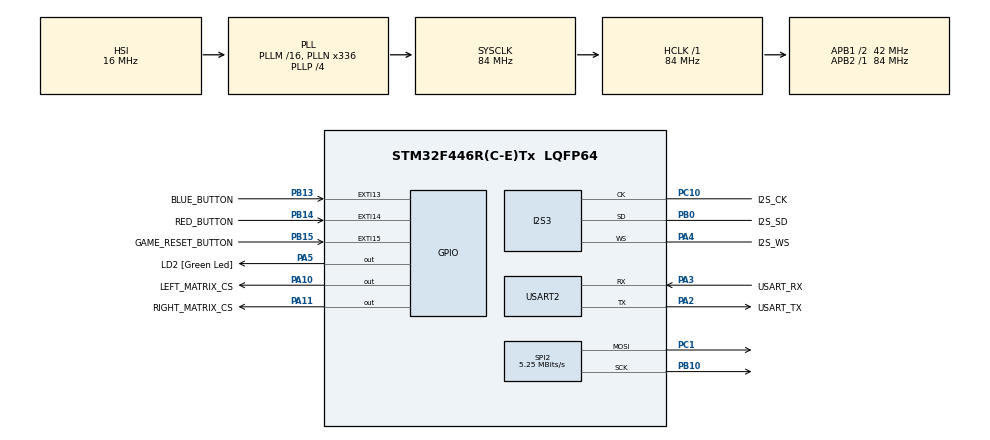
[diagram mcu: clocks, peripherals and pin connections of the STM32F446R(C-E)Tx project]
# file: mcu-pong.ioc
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Dma.Request0=SPI3_TX
Dma.SPI3_TX.0.Direction=DMA_MEMORY_TO_PERIPH
Dma.SPI3_TX.0.FIFOMode=DMA_FIFOMODE_DISABLE
Dma.SPI3_TX.0.Instance=DMA1_Stream5
Dma.SPI3_TX.0.MemDataAlignment=DMA_MDATAALIGN_HALFWORD
Dma.SPI3_TX.0.MemInc=DMA_MINC_ENABLE
Dma.SPI3_TX.0.Mode=DMA_CIRCULAR
Dma.SPI3_TX.0.PeriphDataAlignment=DMA_PDATAALIGN_HALFWORD
Dma.SPI3_TX.0.PeriphInc=DMA_PINC_DISABLE
Dma.SPI3_TX.0.Priority=DMA_PRIORITY_LOW
I2S3.ErrorAudioFreq=0.0 %
I2S3.FullDuplexMode=I2S_FULLDUPLEXMODE_DISABLE
I2S3.Instance=SPI$Index
I2S3.RealAudioFreq=8.0 KHz
I2S3.VirtualMode=I2S_MODE_MASTER
Mcu.Family=STM32F4
Mcu.Name=STM32F446R(C-E)Tx
Mcu.Package=LQFP64
NVIC.DMA1_Stream5_IRQn=true\:0\:0\:false\:false\:true\:false\:true\:true
NVIC.EXTI15_10_IRQn=true\:0\:0\:false\:false\:true\:true\:true\:true
NVIC.PriorityGroup=NVIC_PRIORITYGROUP_0
PA10.GPIO_Label=LEFT_MATRIX_CS
PA10.Signal=GPIO_Output
PA11.GPIO_Label=RIGHT_MATRIX_CS
PA11.Signal=GPIO_Output
PA13.GPIO_Label=TMS
PA13.Signal=SYS_JTMS-SWDIO
PA14.GPIO_Label=TCK
PA14.Signal=SYS_JTCK-SWCLK
PA2.GPIO_Label=USART_TX
PA2.Mode=Asynchronous
PA2.Signal=USART2_TX
PA3.GPIO_Label=USART_RX
PA3.Mode=Asynchronous
PA3.Signal=USART2_RX
PA4.GPIO_Label=I2S_WS
PA4.Mode=Half_Duplex_Master
PA4.Signal=I2S3_WS
PA5.GPIO_Label=LD2 [Green Led]
PA5.Signal=GPIO_Output
PB0.GPIO_Label=I2S_SD
PB0.Mode=Half_Duplex_Master
PB0.Signal=I2S3_SD
PB10.Mode=TX_Only_Simplex_Unidirect_Master
PB10.Signal=SPI2_SCK
PB13.GPIO_Label=BLUE_BUTTON
PB13.GPIO_ModeDefaultEXTI=GPIO_MODE_IT_RISING_FALLING
PB13.GPIO_PuPd=GPIO_PULLUP
PB13.Signal=GPXTI13
PB14.GPIO_Label=RED_BUTTON
PB14.GPIO_ModeDefaultEXTI=GPIO_MODE_IT_RISING_FALLING
PB14.GPIO_PuPd=GPIO_PULLUP
PB14.Signal=GPXTI14
PB15.GPIO_Label=GAME_RESET_BUTTON
PB15.GPIO_ModeDefaultEXTI=GPIO_MODE_IT_FALLING
PB15.GPIO_PuPd=GPIO_PULLUP
PB15.Signal=GPXTI15
PB3.GPIO_Label=SWO
PB3.Signal=SYS_JTDO-SWO
PC1.Mode=TX_Only_Simplex_Unidirect_Master
PC1.Signal=SPI2_MOSI
PC10.GPIO_Label=I2S_CK
PC10.Mode=Half_Duplex_Master
PC10.Signal=I2S3_CK
PC14-OSC32_IN.Signal=RCC_OSC32_IN
PC15-OSC32_OUT.Signal=RCC_OSC32_OUT
PH0-OSC_IN.Signal=RCC_OSC_IN
PH1-OSC_OUT.Signal=RCC_OSC_OUT
ProjectManager.HeapSize=0x200
ProjectManager.StackSize=0x400
ProjectManager.TargetToolchain=CMake
RCC.AHBFreq_Value=84000000
RCC.APB1CLKDivider=RCC_HCLK_DIV2
RCC.APB1Freq_Value=42000000
RCC.APB1TimFreq_Value=84000000
RCC.APB2Freq_Value=84000000
RCC.APB2TimFreq_Value=84000000
RCC.CortexFreq_Value=84000000
RCC.FLatency-AdvancedSettings=FLASH_LATENCY_2
RCC.HCLKFreq_Value=84000000
RCC.HSE_VALUE=8000000
RCC.HSI_VALUE=16000000
RCC.LSE_VALUE=32768
RCC.PLLN=336
RCC.PLLP=RCC_PLLP_DIV4
RCC.SYSCLKFreq_VALUE=84000000
RCC.SYSCLKSource=RCC_SYSCLKSOURCE_PLLCLK
RCC.USBFreq_Value=168000000
RCC.VCOOutputFreq_Value=336000000
SPI2.BaudRatePrescaler=SPI_BAUDRATEPRESCALER_8
SPI2.CalculateBaudRate=5.25 MBits/s
SPI2.DataSize=SPI_DATASIZE_16BIT
SPI2.Direction=SPI_DIRECTION_2LINES
SPI2.Mode=SPI_MODE_MASTER
SPI2.VirtualType=VM_MASTER
USART2.VirtualMode=VM_ASYNC
board=NUCLEO-F446RE

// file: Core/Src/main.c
/* USER CODE BEGIN Header */
/**
  ******************************************************************************
  * @file           : main.c
  * @brief          : Main program body
  ******************************************************************************
  * @attention
  *
  * Copyright (c) 2026 STMicroelectronics.
  * All rights reserved.
  *
  * This software is licensed under terms that can be found in the LICENSE file
  * in the root directory of this software component.
  * If no LICENSE file comes with this software, it is provided AS-IS.
  *
  ******************************************************************************
  */
/* USER CODE END Header */
#include "main.h"

/* USER CODE BEGIN Includes */
#include "audio_player.h"
#include "driver/double_max7219_display.h"
#include "driver/max7219.h"
#include "game/pong_game_manager.h"
#include "stm32f4xx_hal.h"
#include "stm32f4xx_hal_gpio.h"
#include "wav_file_reader.h"
#include <stdlib.h>
#include "audio/start.wav.h"

/* USER CODE END Includes */

I2S_HandleTypeDef hi2s3;
DMA_HandleTypeDef hdma_spi3_tx;

SPI_HandleTypeDef hspi2;

UART_HandleTypeDef huart2;

void SystemClock_Config(void);
static void MX_GPIO_Init(void);
static void MX_DMA_Init(void);
static void MX_SPI2_Init(void);
static void MX_USART2_UART_Init(void);
static void MX_I2S3_Init(void);

/* USER CODE BEGIN 0 */
#define GAME_FREQ_HZ 24
#define GAME_FRAME_MS (1000/GAME_FREQ_HZ)

PongGameConfig Game;

void HAL_GPIO_EXTI_Callback(uint16_t GPIO_Pin) {
  // Up button
  if (GPIO_Pin == BLUE_BUTTON_Pin) {
    if (Game.was_initialized) {
      if (HAL_GPIO_ReadPin(BLUE_BUTTON_GPIO_Port, BLUE_BUTTON_Pin) == GPIO_PIN_RESET) {
        game_handle_up_button_pressed(&Game);
      } else {
        game_handle_up_button_released(&Game);
    }
    }
    // Down button
  } else if (GPIO_Pin == RED_BUTTON_Pin) {
    if (Game.was_initialized) {
      if (HAL_GPIO_ReadPin(RED_BUTTON_GPIO_Port, RED_BUTTON_Pin) == GPIO_PIN_RESET) {
        game_handle_down_button_pressed(&Game);
      } else {
        game_handle_down_button_released(&Game);
      }
    }
    // Reset button
  } else if (GPIO_Pin == GAME_RESET_BUTTON_Pin) {
    if (Game.was_initialized) {
      game_deinit(&Game);
    }
    game_init(&Game);
  }
}
/* USER CODE END 0 */

int main(void)
{

  /* MCU Configuration--------------------------------------------------------*/

  /* Reset of all peripherals, Initializes the Flash interface and the Systick. */
  HAL_Init();

  /* Configure the system clock */
  SystemClock_Config();

  /* Initialize all configured peripherals */
  MX_GPIO_Init();
  MX_DMA_Init();
  MX_SPI2_Init();
  MX_USART2_UART_Init();
  MX_I2S3_Init();
  /* USER CODE BEGIN 2 */
  AudioPlayer audio_player;
  audio_player.hi2s = &hi2s3;
  audio_player_init(&audio_player);
  Game.audio_player = &audio_player;

  Max7219_Config config_left;
  config_left.hspi = &hspi2;
  config_left.gpio_port = LEFT_MATRIX_CS_GPIO_Port;
  config_left.gpio_pin = LEFT_MATRIX_CS_Pin;
  Max7219_Config config_right;
  config_right.hspi = &hspi2;
  config_right.gpio_port = RIGHT_MATRIX_CS_GPIO_Port;
  config_right.gpio_pin = RIGHT_MATRIX_CS_Pin;
  DoubleMax7219Config display;
  display.left = config_left;
  display.right = config_right;

  GameWindow window;
  window.led_matrix = &display;
  Game.window = &window;

  game_init(&Game);

  /* USER CODE END 2 */

  /* Infinite loop */
  /* USER CODE BEGIN WHILE */
  uint32_t last_game_tick = HAL_GetTick();
  while (1)
  {
    if (HAL_GetTick() - last_game_tick > GAME_FRAME_MS) {
      game_loop(&Game);
      last_game_tick = HAL_GetTick();
    }
    /* USER CODE END WHILE */

  }
}

void SystemClock_Config(void)
{
  RCC_OscInitTypeDef RCC_OscInitStruct = {0};
  RCC_ClkInitTypeDef RCC_ClkInitStruct = {0};

  /** Configure the main internal regulator output voltage
  */
  __HAL_RCC_PWR_CLK_ENABLE();
  __HAL_PWR_VOLTAGESCALING_CONFIG(PWR_REGULATOR_VOLTAGE_SCALE3);

  /** Initializes the RCC Oscillators according to the specified parameters
  * in the RCC_OscInitTypeDef structure.
  */
  RCC_OscInitStruct.OscillatorType = RCC_OSCILLATORTYPE_HSI;
  RCC_OscInitStruct.HSIState = RCC_HSI_ON;
  RCC_OscInitStruct.HSICalibrationValue = RCC_HSICALIBRATION_DEFAULT;
  RCC_OscInitStruct.PLL.PLLState = RCC_PLL_ON;
  RCC_OscInitStruct.PLL.PLLSource = RCC_PLLSOURCE_HSI;
  RCC_OscInitStruct.PLL.PLLM = 16;
  RCC_OscInitStruct.PLL.PLLN = 336;
  RCC_OscInitStruct.PLL.PLLP = RCC_PLLP_DIV4;
  RCC_OscInitStruct.PLL.PLLQ = 2;
  RCC_OscInitStruct.PLL.PLLR = 2;
  if (HAL_RCC_OscConfig(&RCC_OscInitStruct) != HAL_OK)
  {
    Error_Handler();
  }

  /** Initializes the CPU, AHB and APB buses clocks
  */
  RCC_ClkInitStruct.ClockType = RCC_CLOCKTYPE_HCLK|RCC_CLOCKTYPE_SYSCLK
                              |RCC_CLOCKTYPE_PCLK1|RCC_CLOCKTYPE_PCLK2;
  RCC_ClkInitStruct.SYSCLKSource = RCC_SYSCLKSOURCE_PLLCLK;
  RCC_ClkInitStruct.AHBCLKDivider = RCC_SYSCLK_DIV1;
  RCC_ClkInitStruct.APB1CLKDivider = RCC_HCLK_DIV2;
  RCC_ClkInitStruct.APB2CLKDivider = RCC_HCLK_DIV1;

  if (HAL_RCC_ClockConfig(&RCC_ClkInitStruct, FLASH_LATENCY_2) != HAL_OK)
  {
    Error_Handler();
  }
}

static void MX_I2S3_Init(void)
{

  hi2s3.Instance = SPI3;
  hi2s3.Init.Mode = I2S_MODE_MASTER_TX;
  hi2s3.Init.Standard = I2S_STANDARD_PHILIPS;
  hi2s3.Init.DataFormat = I2S_DATAFORMAT_16B;
  hi2s3.Init.MCLKOutput = I2S_MCLKOUTPUT_DISABLE;
  hi2s3.Init.AudioFreq = I2S_AUDIOFREQ_8K;
  hi2s3.Init.CPOL = I2S_CPOL_LOW;
  hi2s3.Init.ClockSource = I2S_CLOCK_PLL;
  hi2s3.Init.FullDuplexMode = I2S_FULLDUPLEXMODE_DISABLE;
  if (HAL_I2S_Init(&hi2s3) != HAL_OK)
  {
    Error_Handler();
  }

}

static void MX_SPI2_Init(void)
{

  /* SPI2 parameter configuration*/
  hspi2.Instance = SPI2;
  hspi2.Init.Mode = SPI_MODE_MASTER;
  hspi2.Init.Direction = SPI_DIRECTION_2LINES;
  hspi2.Init.DataSize = SPI_DATASIZE_16BIT;
  hspi2.Init.CLKPolarity = SPI_POLARITY_LOW;
  hspi2.Init.CLKPhase = SPI_PHASE_1EDGE;
  hspi2.Init.NSS = SPI_NSS_SOFT;
  hspi2.Init.BaudRatePrescaler = SPI_BAUDRATEPRESCALER_8;
  hspi2.Init.FirstBit = SPI_FIRSTBIT_MSB;
  hspi2.Init.TIMode = SPI_TIMODE_DISABLE;
  hspi2.Init.CRCCalculation = SPI_CRCCALCULATION_DISABLE;
  hspi2.Init.CRCPolynomial = 10;
  if (HAL_SPI_Init(&hspi2) != HAL_OK)
  {
    Error_Handler();
  }

}

static void MX_USART2_UART_Init(void)
{

  huart2.Instance = USART2;
  huart2.Init.BaudRate = 115200;
  huart2.Init.WordLength = UART_WORDLENGTH_8B;
  huart2.Init.StopBits = UART_STOPBITS_1;
  huart2.Init.Parity = UART_PARITY_NONE;
  huart2.Init.Mode = UART_MODE_TX_RX;
  huart2.Init.HwFlowCtl = UART_HWCONTROL_NONE;
  huart2.Init.OverSampling = UART_OVERSAMPLING_16;
  if (HAL_UART_Init(&huart2) != HAL_OK)
  {
    Error_Handler();
  }

}

static void MX_DMA_Init(void)
{

  /* DMA controller clock enable */
  __HAL_RCC_DMA1_CLK_ENABLE();

  /* DMA interrupt init */
  /* DMA1_Stream5_IRQn interrupt configuration */
  HAL_NVIC_SetPriority(DMA1_Stream5_IRQn, 0, 0);
  HAL_NVIC_EnableIRQ(DMA1_Stream5_IRQn);

}

static void MX_GPIO_Init(void)
{
  GPIO_InitTypeDef GPIO_InitStruct = {0};

  /* GPIO Ports Clock Enable */
  __HAL_RCC_GPIOC_CLK_ENABLE();
  __HAL_RCC_GPIOH_CLK_ENABLE();
  __HAL_RCC_GPIOA_CLK_ENABLE();
  __HAL_RCC_GPIOB_CLK_ENABLE();

  /*Configure GPIO pin Output Level */
  HAL_GPIO_WritePin(GPIOA, LD2_Pin|LEFT_MATRIX_CS_Pin|RIGHT_MATRIX_CS_Pin, GPIO_PIN_RESET);

  /*Configure GPIO pins : LD2_Pin LEFT_MATRIX_CS_Pin RIGHT_MATRIX_CS_Pin */
  GPIO_InitStruct.Pin = LD2_Pin|LEFT_MATRIX_CS_Pin|RIGHT_MATRIX_CS_Pin;
  GPIO_InitStruct.Mode = GPIO_MODE_OUTPUT_PP;
  GPIO_InitStruct.Pull = GPIO_NOPULL;
  GPIO_InitStruct.Speed = GPIO_SPEED_FREQ_LOW;
  HAL_GPIO_Init(GPIOA, &GPIO_InitStruct);

  /*Configure GPIO pins : BLUE_BUTTON_Pin RED_BUTTON_Pin */
  GPIO_InitStruct.Pin = BLUE_BUTTON_Pin|RED_BUTTON_Pin;
  GPIO_InitStruct.Mode = GPIO_MODE_IT_RISING_FALLING;
  GPIO_InitStruct.Pull = GPIO_PULLUP;
  HAL_GPIO_Init(GPIOB, &GPIO_InitStruct);

  /*Configure GPIO pin : GAME_RESET_BUTTON_Pin */
  GPIO_InitStruct.Pin = GAME_RESET_BUTTON_Pin;
  GPIO_InitStruct.Mode = GPIO_MODE_IT_FALLING;
  GPIO_InitStruct.Pull = GPIO_PULLUP;
  HAL_GPIO_Init(GAME_RESET_BUTTON_GPIO_Port, &GPIO_InitStruct);

  /* EXTI interrupt init*/
  HAL_NVIC_SetPriority(EXTI15_10_IRQn, 0, 0);
  HAL_NVIC_EnableIRQ(EXTI15_10_IRQn);

}

void Error_Handler(void)
{
  __disable_irq();
  while (1)
  {
  }
}
